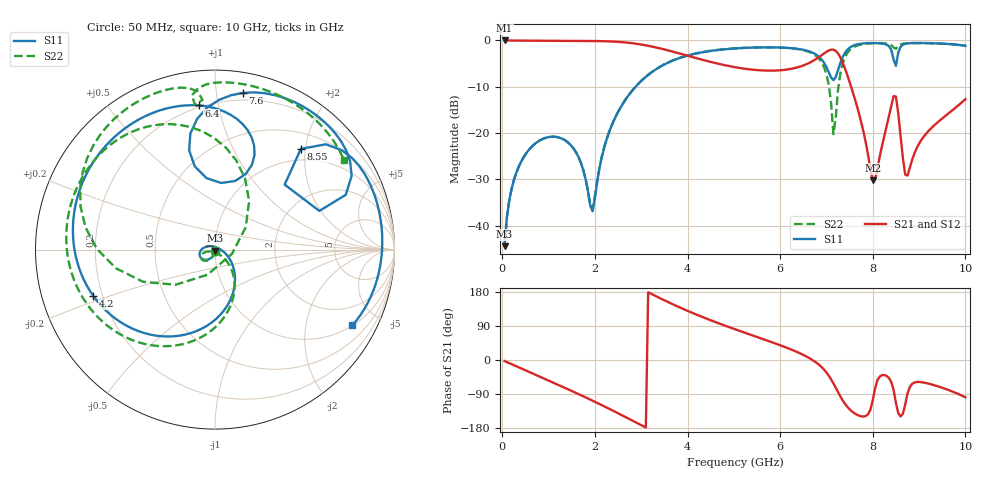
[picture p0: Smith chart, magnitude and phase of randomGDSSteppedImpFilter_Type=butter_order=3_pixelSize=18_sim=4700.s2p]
! freq	dB(S11)	phase(S11)	dB(S12)	phase(S12)
!  dB(S21)	phase(S21)	dB(S22)	phase(S22)
!S-par simulation data
#  GHz  S  DB  R 50
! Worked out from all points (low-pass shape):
!   200 points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, 50 MHz to 10 GHz, reference 50 ohm
!   highest |S21| = -0.01 dB at 50 MHz (marker M1); lowest = -30.2 dB at 8 GHz (marker M2)
!   |S21| within 3 dB of the highest: start of sweep to 3.896 GHz; 6.921 GHz to 7.262 GHz (341 MHz wide, 4.81 % of centre)
!   lowest |S11| = -44.4 dB at 50 MHz (marker M3), VSWR 1.01, Z = 49.9 - j0.6 ohm
!   |S11| at or under -10 dB: start of sweep to 2.879 GHz
!   |S22| runs from -44.1 to -0.6 dB; largest |S21 - S12| = 0
!   S11 on the Smith chart (normalised r, x): 50 MHz: 1.00, -0.01; 4.2 GHz: 0.16, -0.18; 6.4 GHz: 0.19, +0.87; 7.6 GHz: 0.14, +1.18; 8.55 GHz: 0.78, +1.91; 10 GHz: 1.01, -3.61
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0.05  -44.40 -94.4  -0.01 -2.8  -0.01 -2.8  -44.12 -92.3
0.25  -30.14 -105.9  -0.04 -13.7  -0.04 -13.7  -30.16 -103.4
0.65  -22.80 -128.8  -0.07 -35.3  -0.07 -35.3  -22.79 -123.2
1.3  -21.24 -168.7  -0.11 -70.7  -0.11 -70.7  -21.24 -154.0
1.75  -28.00 152.4  -0.12 -95.8  -0.12 -95.8  -28.00 -164.7
1.95  -36.88 61.1  -0.13 -107.4  -0.13 -107.4  -36.29 -96.4
2.4  -17.50 -42.0  -0.25 -134.4  -0.25 -134.4  -17.43 -49.3
3.4  -5.74 -112.0  -1.70 163.5  -1.70 163.5  -5.70 -102.8
4.2  -2.79 -159.1  -3.85 119.4  -3.85 119.4  -2.76 -143.1
5.05  -1.72 158.9  -5.82 80.0  -5.82 80.0  -1.69 -178.6
6.4  -1.85 96.5  -5.74 19.3  -5.74 19.3  -1.90 125.3
6.7  -2.64 80.5  -4.48 -0.1  -4.48 -0.1  -2.84 105.6
7  -5.76 66.4  -2.45 -33.1  -2.45 -33.1  -7.32 67.2
7.15  -8.57 84.7  -2.00 -61.7  -2.00 -61.7  -20.23 -14.2
7.35  -3.60 102.0  -4.77 -106.4  -4.77 -106.4  -5.01 -169.3
7.6  -1.04 79.9  -12.19 -140.2  -12.19 -140.2  -1.37 149.6
8  -0.56 53.2  -30.20 -105.8  -30.20 -105.8  -0.63 118.6
8.35  -1.25 28.4  -16.44 -47.5  -16.44 -47.5  -0.80 99.2
8.45  -4.15 20.3  -12.01 -79.1  -12.01 -79.1  -1.55 94.8
8.55  -2.65 49.6  -15.75 -140.1  -15.75 -140.1  -1.22 98.5
8.75  -0.64 30.2  -29.17 -88.4  -29.17 -88.4  -0.61 88.0
10  -1.18 -29.0  -12.68 -98.4  -12.68 -98.4  -1.16 34.9
